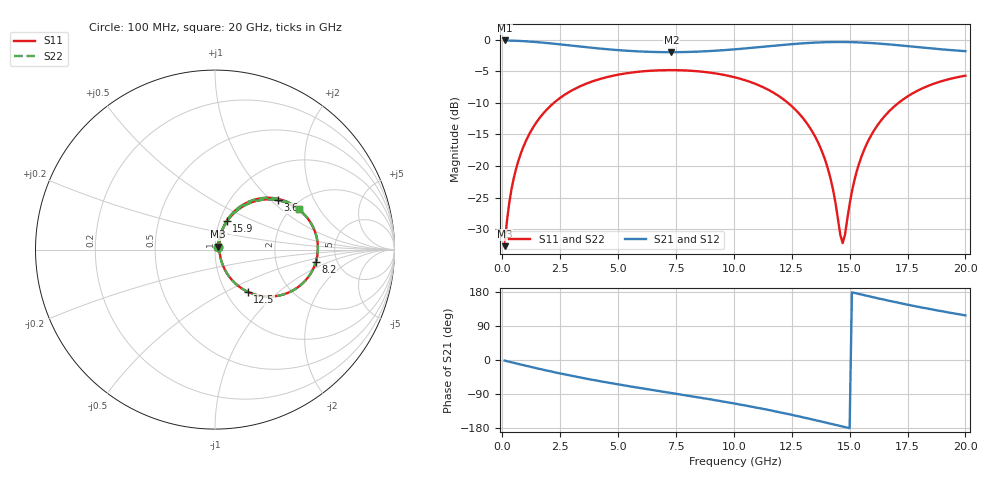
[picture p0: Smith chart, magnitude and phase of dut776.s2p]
! Touchstone file exported from HFSS 2026.1.0
!  File:  C:/ffzhzh/LocalFiles/Ansys_Project_Files/temp_train_TSV_RDL_776_1783209965_18472.aedt
!  Generated:  08:18:40 AM Jul  5, 2026
!  Design:  TSV_RDL
!  Project:  temp_train_TSV_RDL_776_1783209965_18472
! Variables:
!  h_bsmrdl = 5.04um
!  h_ox = 20um
!  h_rdl = 5um
!  h_sub = 92.02um
!  h_tmrdl = 5.59um
!  h_tsv = 92.02um
!  h_via = 3um
!  l_bsmrdl = 732.59um
!  l_sub = 3920.26um
!  l_tmrdl = 302.73um
!  m_sub = 200um
!  pitch = 52.44um
!  r_tsv = 4.44um
!  s_tmrdl = 10um
!  w_bsmrdl = 23.93um
!  w_sub = 500um
!  w_tmrdl = 13.26um
!  x_tsv_center1 = 309.36um
!  x_tsv_center2 = 1065.88um
!  x_tsv_center3 = 1381.87um
!  x_tsv_center4 = 2138.39um
!  x_tsv_center5 = 2454.38um
!  x_tsv_center6 = 3210.9um
# GHz S MA R 50.000000
! Terminal data exported
! Port[1] = TM_RDL1_1_T1
! Port[2] = TM_RDL5_1_T1
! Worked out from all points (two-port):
!   200 points, 100 MHz to 20 GHz, reference 50 ohm
!   highest |S21| = -0.15 dB at 100 MHz (marker M1); lowest = -2.0 dB at 7.3 GHz (marker M2)
!   |S21| within 3 dB of the highest: start of sweep to end of sweep
!   lowest |S11| = -32.7 dB at 100 MHz (marker M3), VSWR 1.05, Z = 51.7 + j1.66 ohm
!   |S11| at or under -10 dB: start of sweep to 2.231 GHz; 12.33 GHz to 17.12 GHz (4.783 GHz wide, 32.5 % of centre)
!   |S22| runs from -32.7 to -4.8 dB; largest |S21 - S12| = 1.7e-14
!   S11 on the Smith chart (normalised r, x): 100 MHz: 1.03, +0.03; 3.6 GHz: 1.61, +1.11; 8.2 GHz: 3.44, -0.72; 12.5 GHz: 1.26, -0.65; 15.9 GHz: 1.08, +0.35; 20 GHz: 2.19, +1.34
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0.1  0.02328 43.5  0.9834 -1.5  0.9834 -1.5  0.02327 43.5
! Gamma 0 0 0 0
! Port Impedance 50 0 50 0
0.3  0.05117 65.4  0.9813 -4.6  0.9813 -4.6  0.05117 65.4
0.5  0.08092 69.5  0.9788 -7.5  0.9788 -7.5  0.08092 69.5
1.1  0.1694 67.1  0.9664 -16.3  0.9664 -16.3  0.1694 67.1
2.1  0.3011 55.7  0.9322 -30.3  0.9322 -30.3  0.3011 55.7
3.5  0.4383 39.2  0.8748 -47.8  0.8748 -47.8  0.4383 39.2
3.6  0.446 38.0  0.8709 -49.0  0.8709 -49.0  0.446 38.0
5.2  0.5353 21.2  0.8196 -66.4  0.8196 -66.4  0.5353 21.2
6.8  0.5715 5.9  0.7958 -82.3  0.7958 -82.3  0.5715 5.9
7.3  0.5733 1.2  0.7945 -87.2  0.7945 -87.2  0.5734 1.2
8.2  0.5658 -7.2  0.7994 -96.0  0.7994 -96.0  0.5658 -7.2
10.1  0.4997 -25.9  0.8386 -115.6  0.8386 -115.6  0.4998 -25.9
11.4  0.4084 -39.8  0.8816 -130.6  0.8816 -130.6  0.4084 -39.9
12.5  0.2976 -52.2  0.9194 -144.7  0.9194 -144.7  0.2976 -52.2
13.4  0.1856 -61.3  0.9437 -157.0  0.9437 -157.0  0.1856 -61.4
14.1  0.08999 -62.8  0.9544 -167.0  0.9544 -167.0  0.08996 -62.9
14.7  0.02462 3.3  0.9561 -175.6  0.9561 -175.6  0.02445 3.3
15.3  0.08991 68.6  0.9507 175.7  0.9507 175.7  0.08985 68.7
15.9  0.1709 67.9  0.9388 167.2  0.9388 167.2  0.1708 68.0
16.7  0.2702 60.4  0.9155 156.3  0.9155 156.3  0.2702 60.4
18.2  0.4157 44.0  0.8622 137.5  0.8622 137.5  0.4157 44.0
20  0.5179 25.6  0.8095 117.7  0.8095 117.7  0.5179 25.6
